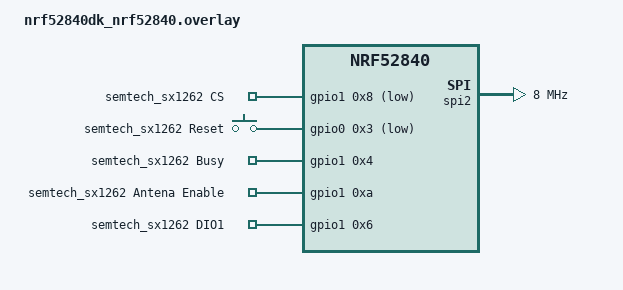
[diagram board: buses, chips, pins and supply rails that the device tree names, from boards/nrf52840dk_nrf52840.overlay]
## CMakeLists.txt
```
#
# Copyright (c) 2023 Nordic Semiconductor ASA
#
# SPDX-License-Identifier: LicenseRef-Nordic-5-Clause
#

cmake_minimum_required(VERSION 3.20.0)

set(hci_rpmsg_KCONFIG_ROOT ${CMAKE_CURRENT_SOURCE_DIR}/child_image/hci_rpmsg/Kconfig.root)

find_package(Zephyr REQUIRED HINTS $ENV{ZEPHYR_BASE})
project(sensor_monitoring)

FILE(GLOB app_sources
    src/*.c
    ext/*.c
)

target_sources(app PRIVATE ${app_sources})

zephyr_include_directories(
    include
    ext
    ../common/include
)
```

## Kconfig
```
#
# Copyright (c) 2023 Nordic Semiconductor ASA
#
# SPDX-License-Identifier: LicenseRef-Nordic-5-Clause
#

menu "Sidewalk application"

config SM_TIMER_DEMO_CAPABILITY_PERIOD_MS
        prompt "Capability period in ms"
        int
        default 5000
        help
               Delay in ms to wait after device is registered to send capability to cloud

config SM_TIMER_CONNECT_LINK_TYPE_1_DELAY_MS 
        prompt "BLE Conneciton request delay after inactivity in ms"
        int
        default 60000
        help
                If operating in BLE mode the connection request has to be send before any message can be send.
                This config determines delay between connection requests

config SM_TIMER_CONNECT_LINK_TYPE_1_INIT_DELAY_MS
        prompt "BLE Initial connection request delay in ms"
        int
        default 5000
        help
                After device has been registered and time sync the connection request has to be send. 
                This config determines the delay before first connection request
                
config SM_TIMER_DEMO_NOTIFY_SENSOR_DATA_PERIOD_MS
        prompt "Sensor data sending period in ms"
        int
        default 15000
        help
                Period between sending sensor messages from device to cloud.
                Those messages also contain the state of buttons.

config SM_TIMER_BUTTON_PRESS_CHECK_PERIOD_SECS
        prompt "Sending button state period in seconds"
        int
        default 30
        help
                Delay between sending Button update to cloud.
                Any notification send to cloud contain state of buttons, so if no message has been send for 
                BUTTON_PRESS_CHECK_PERIOD_SECS, the button state will be send.

config SM_TIMER_PROFILE_CHECK_TIMER_DELAY_MS 
        prompt "SubGHz change profile delay in ms"
        int
        default 60000
        help
                In SubGHz configuration, this value determines when the transmition profile will be changed
endmenu

source "${ZEPHYR_BASE}/../sidewalk/samples/common/Kconfig.defconfig"

source "Kconfig.zephyr"
```

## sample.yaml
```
sample:
  description: Amazon Sidewalk demo app
  name: Sensor monitoring app
tests:
  sample.sidewalk.demo.ble_only:
    build_only: true
    platform_allow: nrf52840dk_nrf52840 nrf5340dk_nrf5340_cpuapp thingy53_nrf5340_cpuapp
    integration_platforms:
      - nrf52840dk_nrf52840
      - nrf5340dk_nrf5340_cpuapp
    tags: Sidewalk BLE
  sample.sidewalk.demo.fsk:
    build_only: true
    platform_allow: nrf52840dk_nrf52840 nrf5340dk_nrf5340_cpuapp
    extra_args: OVERLAY_CONFIG=fsk.conf
    integration_platforms:
      - nrf52840dk_nrf52840
      - nrf5340dk_nrf5340_cpuapp
    tags: Sidewalk FSK
  sample.sidewalk.demo.lora:
    build_only: true
    platform_allow: nrf52840dk_nrf52840 nrf5340dk_nrf5340_cpuapp
    extra_args: OVERLAY_CONFIG=lora.conf
    integration_platforms:
      - nrf52840dk_nrf52840
      - nrf5340dk_nrf5340_cpuapp
    tags: Sidewalk LoRa
```

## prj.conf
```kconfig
#
# Copyright (c) 2023 Nordic Semiconductor ASA
#
# SPDX-License-Identifier: LicenseRef-Nordic-5-Clause
#

# Sidewalk
CONFIG_SIDEWALK=y
CONFIG_SIDEWALK_TEMPERATURE=y
CONFIG_SIDEWALK_DFU=n
CONFIG_SIDEWALK_THREAD_PRIORITY=10

# Logs
CONFIG_SIDEWALK_LOG_LEVEL_INF=y

# Buttons and LEDs
CONFIG_GPIO=y
CONFIG_DK_LIBRARY=y

# Bluetooth
CONFIG_BT_DEVICE_NAME="Sid demo"

# Debug
CONFIG_RESET_ON_FATAL_ERROR=n

# Low Power Charles
CONFIG_PM_DEVICE=y
CONFIG_POWEROFF=y
CONFIG_SERIAL=n
CONFIG_LOG=n
CONFIG_CONSOLE=n
CONFIG_UART_CONSOLE=n
CONFIG_RTT_CONSOLE=n
CONFIG_USE_SEGGER_RTT=n
CONFIG_PRINTK=n
```

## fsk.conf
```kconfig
#
# Copyright (c) 2023 Nordic Semiconductor ASA
#
# SPDX-License-Identifier: LicenseRef-Nordic-5-Clause
#

CONFIG_SIDEWALK_LINK_MASK_FSK=y


CONFIG_HW_CC3XX=y
CONFIG_PSA_CRYPTO_DRIVER_CC3XX=y
CONFIG_MBEDTLS_HEAP_SIZE=1024

CONFIG_SPIN_VALIDATE=n
```

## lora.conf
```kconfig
#
# Copyright (c) 2023 Nordic Semiconductor ASA
#
# SPDX-License-Identifier: LicenseRef-Nordic-5-Clause
#

CONFIG_SIDEWALK_LINK_MASK_LORA=y
```

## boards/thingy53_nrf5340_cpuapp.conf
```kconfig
#
# Copyright (c) 2023 Nordic Semiconductor ASA
#
# SPDX-License-Identifier: LicenseRef-Nordic-5-Clause
#
CONFIG_BOOTLOADER_MCUBOOT=n

CONFIG_I2C=y
CONFIG_SENSOR=y
CONFIG_BME680=y
```

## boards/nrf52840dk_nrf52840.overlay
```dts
/*
 * Copyright (c) 2023 Nordic Semiconductor ASA
 *
 * SPDX-License-Identifier: LicenseRef-Nordic-5-Clause
 */

&spi3 {
	status = "disabled";
};

sid_semtech: &spi2 {
	compatible = "nordic,nrf-spim";
	status = "okay";
	pinctrl-0 = <&spi2_default>;
	pinctrl-1 = <&spi2_sleep>;
	pinctrl-names = "default", "sleep";
	clock-frequency = <DT_FREQ_M(8)>;
};

/{
 	semtech_sx1262_gpios{
 		compatible = "gpio-keys";
		semtech_sx1262_cs: cs {
			gpios = <&gpio1 0x8 GPIO_ACTIVE_LOW>;
			label = "semtech_sx1262 CS";
		};
 		semtech_sx1262_reset_gpios: reset {
			gpios = <&gpio0 0x3 GPIO_ACTIVE_LOW>;
			label = "semtech_sx1262 Reset";
		};
		semtech_sx1262_busy_gpios: busy {
			gpios = <&gpio1 0x4 GPIO_ACTIVE_HIGH>;
			label = "semtech_sx1262 Busy";
		};
		semtech_sx1262_antenna_enable_gpios: antena_enable {
			gpios = <&gpio1 0xa GPIO_ACTIVE_HIGH>;
			label = "semtech_sx1262 Antena Enable";
		};
		semtech_sx1262_dio1_gpios: dio1 {
			gpios = <&gpio1 0x6 GPIO_ACTIVE_HIGH>;
			label = "semtech_sx1262 DIO1";
		};
 	};
 };

&spi2_default {
	group1 {
		psels = <NRF_PSEL(SPIM_SCK, 1, 15)>,
			<NRF_PSEL(SPIM_MISO, 1, 14)>,
			<NRF_PSEL(SPIM_MOSI, 1, 13)>;
	};
};

&spi2_sleep {
	group1 {
		psels = <NRF_PSEL(SPIM_SCK, 1, 15)>,
			<NRF_PSEL(SPIM_MISO, 1, 14)>,
			<NRF_PSEL(SPIM_MOSI, 1, 13)>;
		low-power-enable;
	};
};
```

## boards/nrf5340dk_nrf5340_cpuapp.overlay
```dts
/*
 * Copyright (c) 2023 Nordic Semiconductor ASA
 *
 * SPDX-License-Identifier: LicenseRef-Nordic-5-Clause
 */

#include <zephyr/dt-bindings/ipc_service/static_vrings.h>

&ipc0 {
    zephyr,priority = <0 PRIO_COOP>;
};

 sid_semtech: &spi4 {
	compatible = "nordic,nrf-spim";
	status = "okay";
	pinctrl-0 = <&spi4_default>;
	pinctrl-1 = <&spi4_sleep>;
	pinctrl-names = "default", "sleep";
	clock-frequency = <DT_FREQ_M(8)>;
};

/{
	semtech_sx1262_gpios{
		compatible = "gpio-keys";
	   semtech_sx1262_cs: cs {
		   gpios = <&gpio1 0x9 GPIO_ACTIVE_LOW>;
		   label = "semtech_sx1262 CS";
	   };
		semtech_sx1262_reset_gpios: reset {
		   gpios = <&gpio0 0x4 GPIO_ACTIVE_LOW>;
		   label = "semtech_sx1262 Reset";
	   };
	   semtech_sx1262_busy_gpios: busy {
		   gpios = <&gpio1 0x5 GPIO_ACTIVE_HIGH>;
		   label = "semtech_sx1262 Busy";
	   };
	   semtech_sx1262_antenna_enable_gpios: antena_enable {
		   gpios = <&gpio1 0xa GPIO_ACTIVE_HIGH>;
		   label = "semtech_sx1262 Antena Enable";
	   };
	   semtech_sx1262_dio1_gpios: dio1 {
		   gpios = <&gpio1 0x7 GPIO_ACTIVE_HIGH>;
		   label = "semtech_sx1262 DIO1";
	   };
	};
};
```

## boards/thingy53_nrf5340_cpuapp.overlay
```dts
/*
 * Copyright (c) 2023 Nordic Semiconductor ASA
 *
 * SPDX-License-Identifier: LicenseRef-Nordic-5-Clause
 */

#include <zephyr/dt-bindings/ipc_service/static_vrings.h>

&ipc0 {
    zephyr,priority = <0 PRIO_COOP>;
};

&i2c1 {
	status = "okay";

	bme688@76 {
		compatible = "bosch,bme680";
		reg = <0x76>;
		status = "okay";
	};
};
```

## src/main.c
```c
/*
 * Copyright (c) 2023 Nordic Semiconductor ASA
 *
 * SPDX-License-Identifier: LicenseRef-Nordic-5-Clause
 */

#include <sm_task.h>
#include <sm_buttons.h>
#include <sm_leds.h>
#include <sidewalk_version.h>
#include <zephyr/logging/log.h>
LOG_MODULE_REGISTER(sm_main, CONFIG_SIDEWALK_LOG_LEVEL);

static int init_leds_and_buttons(void)
{
	int err = sm_buttons_init();

	if (err) {
		LOG_ERR("Failed to initialize buttons (err: %d)", err);
		return err;
	}

	err = sm_leds_init();
	if (err) {
		LOG_ERR("Failed to initialize LEDs (err: %d)", err);
		return err;
	}
	return err;
}

int main(void)
{
	int err;

	PRINT_SIDEWALK_VERSION();

	err = init_leds_and_buttons();
	if (err) {
		LOG_INF("Buttons or LEDs faild to initialize.");
		return err;
	}

	LOG_INF("Sidewalk demo started!");

	sm_task_start();

	return 0;
}
```

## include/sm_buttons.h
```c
/*
 * Copyright (c) 2023 Nordic Semiconductor ASA
 *
 * SPDX-License-Identifier: LicenseRef-Nordic-5-Clause
 */

#ifndef SM_BUTTONS_H
#define SM_BUTTONS_H

#include <sm_task.h>

#if defined(CONFIG_BOARD_THINGY53_NRF5340_CPUAPP)
#define DEMO_BUTTONS_MAX 1
#else
#define DEMO_BUTTONS_MAX 4
#endif
/**
 * @brief Action response process.
 *
 * @param state pointer to parse state.
 */
void sm_buttons_action_response_process(struct sid_parse_state *state);

/**
 * @brief Clear button pending flag.
 *
 */
void sm_buttons_pendig_flag_clear();

/**
 * @brief Set bit in notify mask for button ID.
 *
 * @param btn_id button ID.
 */
void sm_buttons_notify_mask_bit_set(uint8_t btn_id);

/**
 * @brief This function tests whether bit assigned to button ID is set or not.
 *
 * @param btn_id button ID
 * @return true if bit is set, false otherwise.
 */
bool sm_buttons_notify_mask_bit_is_set(uint8_t btn_id);

/**
 * @brief Button notify mask get.
 *
 * @return notify mask.
 */
uint32_t sm_buttons_notify_mask_get();

/**
 * @brief Clear bit in notify mask for button ID.
 *
 * @param btn_id button ID.
 */
void sm_buttons_notify_mask_bit_clear(uint8_t btn_id);

/**
 * @brief Clear bit in press mask for button ID.
 *
 * @param btn_id button ID.
 */
void sm_buttons_press_mask_bit_clear(uint8_t btn_id);

/**
 * @brief This function tests whether bit assigned to button ID is set or not.
 *
 * @param btn_id button ID.
 * @return true if bit is set, false otherwise.
 */
bool sm_buttons_press_mask_bit_is_set(uint8_t btn_id);

/**
 * @brief Get address to buttons array.
 *
 * @return address to button array.
 */
uint8_t *sm_buttons_id_array_get();

/**
 * @brief Set button press time.
 *
 * @param btn_id button ID.
 * @param sec time in seconds.
 */
void sm_buttons_press_time_set(uint8_t btn_id, sid_time_t sec);

/**
 * @brief Get button press time.
 *
 * @param btn_id Button ID.
 * @return time in seconds.
 */
sid_time_t sm_buttons_press_time_get(uint8_t btn_id);

/**
 * @brief Configure and initialize buttons.
 *
 * @return 0 if success, otherwise negative error code.
 */
int sm_buttons_init();

#endif /* SM_BUTTONS_H */
```

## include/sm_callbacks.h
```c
/*
 * Copyright (c) 2023 Nordic Semiconductor ASA
 *
 * SPDX-License-Identifier: LicenseRef-Nordic-5-Clause
 */

#ifndef SM_CALLBACKS_H
#define SM_CALLBACKS_H

#include <sid_api.h>

/**
 * @brief This function sets callbacks which will be invoked Sidewalk events occurs.
 *
 * @param ctx current user context.
 * @param cb pointer to object which stores callbacks.
 * @return SID_ERROR_NONE when success or error code otherwise.
 */
sid_error_t sm_callbacks_set(void *ctx, struct sid_event_callbacks *cb);

#endif /* SM_CALLBACKS_H */
```

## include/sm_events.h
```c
/*
 * Copyright (c) 2023 Nordic Semiconductor ASA
 *
 * SPDX-License-Identifier: LicenseRef-Nordic-5-Clause
 */

#ifndef SM_EVENTS_H
#define SM_EVENTS_H

enum event_type {
	EVENT_TYPE_SIDEWALK,
	EVENT_FACTORY_RESET,
	EVENT_BUTTON_PRESS,
	EVENT_CONNECT_LINK_TYPE_1,
	EVENT_SET_DEVICE_PROFILE_LINK_TYPE_2,
	EVENT_NOTIFICATION_TIMER_FIRED,
	EVENT_BUTTON_PRESS_TIMER_FIRED,
};

enum btn_event {
	BTN_EVENT_KEY_0 = 0,
	BTN_EVENT_KEY_1,
	BTN_EVENT_KEY_2,
	BTN_EVENT_KEY_3,
	BTN_EVENT_RESET_KEY,
};

#endif /* SM_EVENTS_H */
```

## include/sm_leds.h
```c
/*
 * Copyright (c) 2023 Nordic Semiconductor ASA
 *
 * SPDX-License-Identifier: LicenseRef-Nordic-5-Clause
 */

#ifndef SM_LEDS_H
#define SM_LEDS_H

#include <sm_task.h>

/**
 * @brief The function processes a LED request.
 *
 * @param app_context application context.
 * @param state pointer to serialized request data.
 */
void sm_leds_action_request_process(app_context_t *app_context, struct sid_parse_state *state);

/**
 * @brief Get number of LED id array's cells.
 *
 * @return number of LED id array's cells = number of LEDs.
 */
size_t sm_leds_id_array_size_get();

/**
 * @brief Get LED id array's address.
 *
 * @return pointer to LEDs id array.
 */
uint8_t *sm_leds_id_array_get();

/**
 * @brief Initialize LED's
 *
 * @return 0 if success, otherwise negative error code.
 */
int sm_leds_init();

#endif /* SM_LEDS_H */
```

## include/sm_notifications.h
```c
/*
 * Copyright (c) 2023 Nordic Semiconductor ASA
 *
 * SPDX-License-Identifier: LicenseRef-Nordic-5-Clause
 */

#ifndef SM_NOTIFICATIONS_H
#define SM_NOTIFICATIONS_H

#include <sm_task.h>

/**
 * @brief Send capability notification.
 *
 * @param app_context application context.
 */
void sm_notify_capability(app_context_t *app_context);

/**
 * @brief Send notification from sensors.
 *
 * @param app_context application context.
 * @param button_pressed flag inform is notification comes from button event.
 */
void sm_notify_sensor_data(app_context_t *app_context, bool button_pressed);

/**
 * @brief Check button press notification.
 *
 * @param app_context application context.
 */
void sm_check_button_press_notify(app_context_t *app_context);

#endif /* SM_NOTIFICATIONS_H */
```

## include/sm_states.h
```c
/*
 * Copyright (c) 2023 Nordic Semiconductor ASA
 *
 * SPDX-License-Identifier: LicenseRef-Nordic-5-Clause
 */

#ifndef SM_STATES_H
#define SM_STATES_H

enum app_sidewalk_state {
	STATE_SIDEWALK_INIT,
	STATE_SIDEWALK_READY,
	STATE_SIDEWALK_NOT_READY,
	STATE_SIDEWALK_SECURE_CONNECTION,
};

const char *app_sidewalk_state_to_str(const enum app_sidewalk_state state);

enum demo_app_state {
	DEMO_APP_STATE_INIT,
	DEMO_APP_STATE_REGISTERED,
	DEMO_APP_STATE_NOTIFY_CAPABILITY,
	DEMO_APP_STATE_NOTIFY_SENSOR_DATA,
};

const char *demo_app_state_to_string(const enum demo_app_state state);

#endif /* SM_STATES_H */
```

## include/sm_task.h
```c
/*
 * Copyright (c) 2023 Nordic Semiconductor ASA
 *
 * SPDX-License-Identifier: LicenseRef-Nordic-5-Clause
 */

#ifndef SM_TASK_H
#define SM_TASK_H

#include <sid_demo_parser.h>
#include <sm_events.h>
#include <sm_states.h>
#include <sm_utils.h>
#include <zephyr/kernel.h>

struct link_status {
	enum sid_time_sync_status time_sync_status;
	uint32_t link_mask;
	uint32_t supported_link_mode[SID_LINK_TYPE_MAX_IDX];
};

typedef struct app_context {
	struct sid_handle *sidewalk_handle;
	enum app_sidewalk_state sidewalk_state;
	enum demo_app_state app_state;
	struct link_status link_status;

	uint8_t buffer[PAYLOAD_MAX_SIZE];
} app_context_t;

/**
 * @brief Function for starting demo tasks.
 *
 */
void sm_task_start(void);

/**
 * @brief Add message to sidewalk queue.
 *
 * @param app_context application context.
 * @param desc message descriptor.
 * @param msg message payload.
 */
void sm_send_msg(const app_context_t *app_context, struct sid_msg_desc *desc, struct sid_msg *msg);

/**
 * @brief Get the active link type object.
 *
 * @param app_context application context.
 * @return link type.
 */
enum sid_link_type sm_active_link_type_get(const app_context_t *app_context);

#endif /* SM_TASK_H */
```

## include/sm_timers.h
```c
/*
 * Copyright (c) 2023 Nordic Semiconductor ASA
 *
 * SPDX-License-Identifier: LicenseRef-Nordic-5-Clause
 */

#ifndef SM_TIMERS_H
#define SM_TIMERS_H

#include <zephyr/kernel.h>

/**
 * @brief Set time period and run timer for capability notification.
 *
 * @param delay expected delay.
 */
void sm_cap_timer_set_and_run(k_timeout_t delay);

/**
 * @brief Set time period and run timer for buttons.
 *
 * @param delay expected delay.
 * @param update_delay force update delay.
 */
void sm_btn_press_timer_set_and_run(k_timeout_t delay, bool update_delay);

/**
 * @brief Set time period and run timer for device profile.
 *
 * @param delay expected delay.
 */
void sm_device_profile_timer_set_and_run(k_timeout_t delay);

/**
 * @brief Device profile timer stop.
 *
 */
void sm_device_profile_timer_stop();

#endif /* SM_TIMERS_H */
```

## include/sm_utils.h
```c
/*
 * Copyright (c) 2023 Nordic Semiconductor ASA
 *
 * SPDX-License-Identifier: LicenseRef-Nordic-5-Clause
 */

#ifndef SM_UTILS_H
#define SM_UTILS_H

#include <stddef.h>
#include <stdint.h>
#include <sid_api.h>

#define PAYLOAD_MAX_SIZE (255)
#define SID_DEMO_APP_TTL_MAX (60)
#define SID_DEMO_APP_RETRIES_MAX (3)

#ifdef CONFIG_SIDEWALK_LINK_MASK_BLE
#define BUILT_IN_LM (uint32_t)(SID_LINK_TYPE_1)
#elif CONFIG_SIDEWALK_LINK_MASK_FSK
#define BUILT_IN_LM (uint32_t)(SID_LINK_TYPE_2)
#elif CONFIG_SIDEWALK_LINK_MASK_LORA
#define BUILT_IN_LM (uint32_t)(SID_LINK_TYPE_3)
#else
#error "Not defined Sidewalk link mask!!"
#endif

#define SID_APP_LM_2_STR(_lm)                                                                      \
	(_lm == SID_LINK_TYPE_1			      ? "BLE" :                                    \
	 (_lm == SID_LINK_TYPE_2)		      ? "FSK" :                                    \
	 (_lm == SID_LINK_TYPE_3)		      ? "LoRa" :                                   \
	 (_lm == (SID_LINK_TYPE_1 | SID_LINK_TYPE_2)) ? "BLE & FSK" :                              \
	 (_lm == (SID_LINK_TYPE_1 | SID_LINK_TYPE_3)) ? "BLE & LoRa" :                             \
							"INVALID")

struct app_demo_msg {
	enum sid_link_type link_type;
	enum sid_msg_type msg_type;
	struct sid_demo_msg_desc *msg_desc;
	struct sid_demo_msg *msg;
};

struct app_demo_rx_msg {
	uint16_t msg_id;
	size_t pld_size;
	uint8_t rx_payload[PAYLOAD_MAX_SIZE];
};

/**
 * @brief Add message to message queue.
 *
 * @param event Sidewalk event.
 */
void sm_main_task_msg_q_write(enum event_type event);

/**
 * @brief Add message to message queue.
 *
 * @param rx_msg pointer to message.
 */
void sm_rx_task_msg_q_write(struct app_demo_rx_msg *rx_msg);

/**
 * @brief The function checks is Sidewalk ready.
 *
 * @return true when Sidewalk is ready false otherwise.
 */
bool sm_is_sidewalk_ready();

/**
 * @brief Get application state.
 *
 * @return Application state.
 */
enum demo_app_state sm_app_state_get();

#endif /* SM_UTILS_H */
```

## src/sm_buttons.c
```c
/*
 * Copyright (c) 2023 Nordic Semiconductor ASA
 *
 * SPDX-License-Identifier: LicenseRef-Nordic-5-Clause
 */

#include <sm_buttons.h>
#include <buttons.h>
#include <assert.h>
#include <dk_buttons_and_leds.h>
#include <zephyr/logging/log.h>
LOG_MODULE_REGISTER(sm_buttons, CONFIG_SIDEWALK_LOG_LEVEL);

#define BTN_CHECK_AND_SET_MASK(_id)                                                                \
	do {                                                                                       \
		if (!atomic_test_bit(&button_press_mask, button_id_arr[_id])) {                    \
			atomic_set_bit(&button_press_mask, button_id_arr[_id]);                    \
			notify_event = true;                                                       \
		}                                                                                  \
	} while (0);

static uint8_t button_id_arr[DEMO_BUTTONS_MAX];
static atomic_t button_press_mask = ATOMIC_INIT(0);
static uint32_t button_notify_mask;
static uint32_t button_press_time_in_sec_id_arr[DEMO_BUTTONS_MAX];
static atomic_t button_event_pending_processing = ATOMIC_INIT(false);

static void btn_event_handler(uint32_t event)
{
	if ((sm_app_state_get() != DEMO_APP_STATE_NOTIFY_SENSOR_DATA) &&
	    (event != BTN_EVENT_RESET_KEY)) {
		return;
	}

	bool notify_event = false;

	switch ((enum btn_event)event) {
	case BTN_EVENT_RESET_KEY:
		sm_main_task_msg_q_write(EVENT_FACTORY_RESET);
		break;
	case BTN_EVENT_KEY_0:
		BTN_CHECK_AND_SET_MASK(0);
		break;
#ifndef CONFIG_BOARD_THINGY53_NRF5340_CPUAPP
	case BTN_EVENT_KEY_1:
		BTN_CHECK_AND_SET_MASK(1);
		break;
	case BTN_EVENT_KEY_2:
		BTN_CHECK_AND_SET_MASK(2);
		break;
	case BTN_EVENT_KEY_3:
		BTN_CHECK_AND_SET_MASK(3);
		break;
#endif
	default:
		break;
	}

	if (notify_event && atomic_cas(&button_event_pending_processing, false, true)) {
		sm_main_task_msg_q_write(EVENT_BUTTON_PRESS);
	}
}

void sm_buttons_action_response_process(struct sid_parse_state *state)
{
	assert(state);
	uint8_t temp_button_id_arr[DEMO_BUTTONS_MAX] = { 0 };
	struct sid_demo_action_resp action_resp;

	memset(&action_resp, 0, sizeof(action_resp));

	action_resp.button_action_resp.button_id_arr = temp_button_id_arr;
	sid_demo_app_action_resp_deserialize(state, &action_resp);
	if (state->ret_code != SID_ERROR_NONE) {
		LOG_ERR("de-serialize action resp failed %d", state->ret_code);
	} else if (action_resp.resp_type == SID_DEMO_ACTION_TYPE_BUTTON) {
		if (action_resp.button_action_resp.num_buttons == 0xFF) {
			atomic_clear(&button_press_mask);
			button_notify_mask = 0;
			for (size_t i = 0; i < DEMO_BUTTONS_MAX; i++) {
				button_press_time_in_sec_id_arr[i] = 0;
			}
		} else if (action_resp.button_action_resp.num_buttons <= DEMO_BUTTONS_MAX) {
			for (size_t i = 0; i < action_resp.button_action_resp.num_buttons; i++) {
				atomic_clear_bit(&button_press_mask,
						 action_resp.button_action_resp.button_id_arr[i]);
				WRITE_BIT(button_notify_mask,
					  action_resp.button_action_resp.button_id_arr[i], false);
				button_press_time_in_sec_id_arr[i] = 0;
			}
		} else {
			LOG_ERR("Invalid number of button Max allowed %d received %d",
				DEMO_BUTTONS_MAX, action_resp.button_action_resp.num_buttons);
		}
	} else {
		LOG_ERR("Invalid response received %d", action_resp.resp_type);
	}
}

void sm_buttons_pendig_flag_clear()
{
	atomic_clear(&button_event_pending_processing);
}

void sm_buttons_notify_mask_bit_set(uint8_t btn_id)
{
	if (btn_id < DEMO_BUTTONS_MAX) {
		WRITE_BIT(button_notify_mask, button_id_arr[btn_id], true);
	}
}

void sm_buttons_notify_mask_bit_clear(uint8_t btn_id)
{
	if (btn_id < DEMO_BUTTONS_MAX) {
		WRITE_BIT(button_notify_mask, button_id_arr[btn_id], false);
	}
}

bool sm_buttons_notify_mask_bit_is_set(uint8_t btn_id)
{
	if (btn_id < DEMO_BUTTONS_MAX) {
		return (button_notify_mask & BIT(button_id_arr[btn_id]));
	}
	return false;
}

uint32_t sm_buttons_notify_mask_get()
{
	return button_notify_mask;
}

void sm_buttons_press_mask_bit_clear(uint8_t btn_id)
{
	if (btn_id < DEMO_BUTTONS_MAX) {
		atomic_clear_bit(&button_press_mask, button_id_arr[btn_id]);
	}
}

bool sm_buttons_press_mask_bit_is_set(uint8_t btn_id)
{
	if (btn_id < DEMO_BUTTONS_MAX) {
		return atomic_test_bit(&button_press_mask, button_id_arr[btn_id]);
	}
	return false;
}

uint8_t *sm_buttons_id_array_get()
{
	return button_id_arr;
}

void sm_buttons_press_time_set(uint8_t btn_id, sid_time_t sec)
{
	if (btn_id < DEMO_BUTTONS_MAX) {
		button_press_time_in_sec_id_arr[btn_id] = sec;
	}
}

sid_time_t sm_buttons_press_time_get(uint8_t btn_id)
{
	if (btn_id < DEMO_BUTTONS_MAX) {
		return button_press_time_in_sec_id_arr[btn_id];
	}
	return 0;
}

int sm_buttons_init()
{
	button_set_action_long_press(DK_BTN1, btn_event_handler, BTN_EVENT_RESET_KEY);
	button_set_action_short_press(DK_BTN1, btn_event_handler, BTN_EVENT_KEY_0);
#ifndef CONFIG_BOARD_THINGY53_NRF5340_CPUAPP
	button_set_action_long_press(DK_BTN1, btn_event_handler, BTN_EVENT_RESET_KEY);
	button_set_action(DK_BTN2, btn_event_handler, BTN_EVENT_KEY_1);
	button_set_action(DK_BTN3, btn_event_handler, BTN_EVENT_KEY_2);
	button_set_action(DK_BTN4, btn_event_handler, BTN_EVENT_KEY_3);
#endif
	for (size_t i = 0; i < DEMO_BUTTONS_MAX; i++) {
		button_id_arr[i] = i;
	}

	return buttons_init();
}
```

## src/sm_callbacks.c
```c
/*
 * Copyright (c) 2023 Nordic Semiconductor ASA
 *
 * SPDX-License-Identifier: LicenseRef-Nordic-5-Clause
 */

#include <sm_callbacks.h>
#include <sm_task.h>
#include <sm_utils.h>
#include <sm_timers.h>
#include <sid_hal_reset_ifc.h>

#include <zephyr/logging/log.h>
LOG_MODULE_REGISTER(sm_callbacks, CONFIG_SIDEWALK_LOG_LEVEL);

static const uint8_t *status_name[] = { "ready", "not ready", "Error", "secure channel ready" };

static const uint8_t *link_mode_name[] = {
	"none", [SID_LINK_MODE_CLOUD] = "cloud", [SID_LINK_MODE_MOBILE] = "mobile"
};

static const uint8_t *link_mode_idx_name[] = { "ble", "fsk", "lora" };

static void cb_sid_event(bool in_isr, void *context)
{
	LOG_DBG("Event from %s, context %p", in_isr ? "ISR" : "App", context);
	sm_main_task_msg_q_write(EVENT_TYPE_SIDEWALK);
}

static void cb_sid_msg_received(const struct sid_msg_desc *msg_desc, const struct sid_msg *msg,
				void *context)
{
	LOG_INF("Received message(type: %d, link_mode: %d, id: %u size %u rssi %d snr %d)",
		(int)msg_desc->type, (int)msg_desc->link_mode, msg_desc->id, msg->size,
		(int)msg_desc->msg_desc_attr.rx_attr.rssi,
		(int)msg_desc->msg_desc_attr.rx_attr.snr);
	LOG_HEXDUMP_INF((uint8_t *)msg->data, msg->size, "Message data: ");

	if (msg_desc->type == SID_MSG_TYPE_RESPONSE && msg_desc->msg_desc_attr.rx_attr.is_msg_ack) {
		LOG_INF("Received Ack for msg id %d", msg_desc->id);
	} else {
		struct app_demo_rx_msg rx_msg = {
			.msg_id = msg_desc->id,
			.pld_size = msg->size,
		};
		memcpy(rx_msg.rx_payload, msg->data, MIN(msg->size, PAYLOAD_MAX_SIZE));
		sm_rx_task_msg_q_write(&rx_msg);
	}
}

static void cb_sid_msg_sent(const struct sid_msg_desc *msg_desc, void *context)
{
	LOG_INF("Sent message(type: %d, id: %u)", (int)msg_desc->type, msg_desc->id);
}

static void cb_sid_send_error(sid_error_t error, const struct sid_msg_desc *msg_desc, void *context)
{
	LOG_ERR("Failed to send message(type: %d, id: %u), err:%d", (int)msg_desc->type,
		msg_desc->id, (int)error);
}

static void cd_sid_status_changed(const struct sid_status *status, void *context)
{
	LOG_INF("Status changed: %s", status_name[status->state]);

	app_context_t *app_context = (app_context_t *)context;

	switch (status->state) {
	case SID_STATE_READY:
		app_context->sidewalk_state = STATE_SIDEWALK_READY;
		LOG_INF("sidewalk_state = %s",
			app_sidewalk_state_to_str(app_context->sidewalk_state));
		break;
	case SID_STATE_NOT_READY:
		app_context->sidewalk_state = STATE_SIDEWALK_NOT_READY;
		LOG_INF("sidewalk_state = %s",
			app_sidewalk_state_to_str(app_context->sidewalk_state));
		break;
	case SID_STATE_ERROR:
		LOG_ERR("Sidewalk error: %d", (int)sid_get_error(app_context->sidewalk_handle));
		break;
	case SID_STATE_SECURE_CHANNEL_READY:
		app_context->sidewalk_state = STATE_SIDEWALK_SECURE_CONNECTION;
		LOG_INF("sidewalk_state = %s",
			app_sidewalk_state_to_str(app_context->sidewalk_state));
		break;
	}

	LOG_INF("Device %sregistered, Time Sync %s, Link Status Mask = %x",
		(status->detail.registration_status == SID_STATUS_REGISTERED) ? "Is " : "Un",
		(status->detail.time_sync_status == SID_STATUS_TIME_SYNCED) ? "Success" : "Fail",
		status->detail.link_status_mask);

	if ((status->state == SID_STATE_READY) &&
	    (status->detail.time_sync_status == SID_STATUS_TIME_SYNCED) &&
	    (status->detail.registration_status == SID_STATUS_REGISTERED) &&
	    (status->detail.link_status_mask > 0)) {
		/* When connection to cloud is established send the capability message */
		app_context->app_state = DEMO_APP_STATE_INIT;
		LOG_INF("app_state = %s", demo_app_state_to_string(app_context->app_state));
	}

	app_context->link_status.link_mask = status->detail.link_status_mask;
	app_context->link_status.time_sync_status = status->detail.time_sync_status;

	for (int i = 0; i < SID_LINK_TYPE_MAX_IDX; i++) {
		enum sid_link_mode mode =
			(enum sid_link_mode)status->detail.supported_link_modes[i];
		app_context->link_status.supported_link_mode[i] = mode;

		if ((mode == SID_LINK_MODE_CLOUD) || (mode == SID_LINK_MODE_MOBILE)) {
			LOG_INF("Link mode %s, on %s", link_mode_name[mode], link_mode_idx_name[i]);
		}
	}

	if (app_context->app_state == DEMO_APP_STATE_INIT &&
	    status->detail.registration_status == SID_STATUS_REGISTERED) {
		app_context->app_state = DEMO_APP_STATE_REGISTERED;
		LOG_INF("app_state = %s", demo_app_state_to_string(app_context->app_state));
	}

	if (app_context->sidewalk_state == STATE_SIDEWALK_READY) {
		k_timeout_t delay = K_MSEC(CONFIG_SM_TIMER_DEMO_CAPABILITY_PERIOD_MS);

		if (app_context->app_state == DEMO_APP_STATE_REGISTERED) {
			app_context->app_state = DEMO_APP_STATE_NOTIFY_CAPABILITY;
			LOG_INF("app_state = %s", demo_app_state_to_string(app_context->app_state));
		} else if (app_context->app_state == DEMO_APP_STATE_NOTIFY_SENSOR_DATA) {
			delay = K_MSEC(CONFIG_SM_TIMER_DEMO_NOTIFY_SENSOR_DATA_PERIOD_MS);
		}
		sm_cap_timer_set_and_run(delay);
	}

	if ((status->detail.registration_status == SID_STATUS_REGISTERED) &&
	    (status->detail.time_sync_status == SID_STATUS_TIME_SYNCED)) {
		if (BUILT_IN_LM == SID_LINK_TYPE_1 &&
		    !(status->detail.link_status_mask & SID_LINK_TYPE_1)) {
			sm_cap_timer_set_and_run(
				K_MSEC(CONFIG_SM_TIMER_CONNECT_LINK_TYPE_1_INIT_DELAY_MS));
		}

		if (BUILT_IN_LM == SID_LINK_TYPE_2 &&
		    status->detail.link_status_mask & SID_LINK_TYPE_2) {
			sm_device_profile_timer_set_and_run(
				K_MSEC(CONFIG_SM_TIMER_PROFILE_CHECK_TIMER_DELAY_MS));
		}
	}
}

static void on_control_event_notify(const struct sid_control_event_data *data, void *context)
{
	LOG_INF("on_control_event_notify called");
}

static void cb_sid_factory_reset(void *context)
{
	ARG_UNUSED(context);

	LOG_DBG("Factory reset notification received from sid api");
	if (sid_hal_reset(SID_HAL_RESET_NORMAL)) {
		LOG_WRN("Reboot type not supported");
	}
}

sid_error_t sm_callbacks_set(void *ctx, struct sid_event_callbacks *cb)
{
	if (!cb || !ctx) {
		return SID_ERROR_NULL_POINTER;
	}

	cb->context = (app_context_t *)ctx;
	cb->on_event = cb_sid_event; /* Called from ISR context */
	cb->on_msg_received = cb_sid_msg_received; /* Called from sid_process() */
	cb->on_msg_sent = cb_sid_msg_sent; /* Called from sid_process() */
	cb->on_send_error = cb_sid_send_error; /* Called from sid_process() */
	cb->on_status_changed = cd_sid_status_changed; /* Called from sid_process() */
	cb->on_factory_reset = cb_sid_factory_reset; /* Called from sid_process() */
	cb->on_control_event_notify = on_control_event_notify;

	return SID_ERROR_NONE;
}
```

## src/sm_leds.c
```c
/*
 * Copyright (c) 2023 Nordic Semiconductor ASA
 *
 * SPDX-License-Identifier: LicenseRef-Nordic-5-Clause
 */

#include <sm_leds.h>
#include <assert.h>
#include <dk_buttons_and_leds.h>
#include <zephyr/logging/log.h>
LOG_MODULE_REGISTER(sm_leds, CONFIG_SIDEWALK_LOG_LEVEL);
#if defined(CONFIG_BOARD_THINGY53_NRF5340_CPUAPP)
#define DEMO_LEDS_MAX 3
#else
#define DEMO_LEDS_MAX 4
#endif
#define LED_ACTION_REPONSE_PAYLOAD_SIZE_MAX 32

static int leds_state;
static uint8_t led_id_arr[DEMO_LEDS_MAX];

enum leds_id_t {
	LED_ID_0 = 0,
	LED_ID_1 = 1,
	LED_ID_2 = 2,
	LED_ID_3 = 3,
	LED_ID_LAST,
};

static void turn_on_all_leds()
{
	dk_set_leds(DK_ALL_LEDS_MSK);
	leds_state = DK_ALL_LEDS_MSK;
}

static void turn_off_all_leds()
{
	dk_set_leds(DK_NO_LEDS_MSK);
	leds_state = DK_NO_LEDS_MSK;
}

static void turn_on_led(enum leds_id_t id)
{
	if (id < LED_ID_LAST) {
		dk_set_led_on(id);
		WRITE_BIT(leds_state, id, true);
	}
}

static void turn_off_led(enum leds_id_t id)
{
	if (id < LED_ID_LAST) {
		dk_set_led_off(id);
		WRITE_BIT(leds_state, id, false);
	}
}

static bool is_led_on(enum leds_id_t id)
{
	if (id < LED_ID_LAST) {
		return (leds_state & BIT(id));
	}
	return false;
}

static void send_led_response(app_context_t *app_context, struct sid_demo_action_resp *resp)
{
	struct sid_parse_state state;
	enum sid_link_type link_type = sm_active_link_type_get(app_context);
	uint8_t temp_buffer[LED_ACTION_REPONSE_PAYLOAD_SIZE_MAX] = { 0 };

	memset(&state, 0, sizeof(state));

	sid_parse_state_init(&state, temp_buffer, sizeof(temp_buffer));
	sid_demo_app_action_resp_serialize(&state, resp);
	if (state.ret_code != SID_ERROR_NONE) {
		LOG_ERR("Action response serialize failed -%d", state.ret_code);
		return;
	}

	struct sid_demo_msg_desc msg_desc = {
		.status_hdr_ind = true,
		.opc = SID_DEMO_MSG_TYPE_RESP,
		.cmd_class = SID_DEMO_APP_CLASS,
		.cmd_id = SID_DEMO_APP_CLASS_CMD_ACTION,
		.status_code = SID_ERROR_NONE,
	};

	struct sid_demo_msg demo_msg = { .payload = temp_buffer, .payload_size = state.offset };

	sid_parse_state_init(&state, app_context->buffer, PAYLOAD_MAX_SIZE);
	sid_demo_app_msg_serialize(&state, &msg_desc, &demo_msg);
	if (state.ret_code != SID_ERROR_NONE) {
		LOG_ERR("Data serialize failed -%d", state.ret_code);
		return;
	}

	struct sid_msg msg = {
		.data = app_context->buffer,
		.size = state.offset,
	};

	struct sid_msg_desc desc = { .link_type = link_type,
				     .type = SID_MSG_TYPE_NOTIFY,
				     .link_mode = SID_LINK_MODE_CLOUD,
				     .msg_desc_attr = {
					     .tx_attr = {
						     .ttl_in_seconds = SID_DEMO_APP_TTL_MAX,
						     .num_retries = SID_DEMO_APP_RETRIES_MAX,
						     .request_ack = true,
					     } } };

	LOG_INF("Sending led response");
	sm_send_msg(app_context, &desc, &msg);
}

static void turn_all_leds_process(app_context_t *app_context,
				  enum sid_demo_led_action led_action_req,
				  struct sid_demo_action_resp *action_resp)
{
	if (led_action_req == SID_DEMO_ACTION_LED_ON) {
		turn_on_all_leds();
	} else {
		turn_off_all_leds();
	}

	action_resp->led_action_resp.action_resp = led_action_req;

	for (size_t i = 0; i < DEMO_LEDS_MAX; i++) {
		bool result = (led_action_req == SID_DEMO_ACTION_LED_ON) ?
				      is_led_on((enum leds_id_t)led_id_arr[i]) :
				      !is_led_on((enum leds_id_t)led_id_arr[i]);
		if (result) {
			action_resp->led_action_resp.num_leds += 1;
			action_resp->led_action_resp.led_id_arr[i] = led_id_arr[i];
		}
	}

	if (action_resp->led_action_resp.num_leds) {
		send_led_response(app_context, action_resp);
	} else {
		LOG_ERR("LED response invalid num leds %d", action_resp->led_action_resp.num_leds);
	}
}

static void turn_leds_process(app_context_t *app_context, struct sid_demo_led_action_req *led_req,
			      struct sid_demo_action_resp *action_resp)
{
	for (uint8_t i = 0; i < led_req->num_leds; i++) {
		if (led_req->action_req == SID_DEMO_ACTION_LED_ON) {
			turn_on_led((enum leds_id_t)led_req->led_id_arr[i]);
		} else {
			turn_off_led((enum leds_id_t)led_req->led_id_arr[i]);
		}
	}

	action_resp->led_action_resp.action_resp = led_req->action_req;

	for (uint8_t i = 0; i < led_req->num_leds; i++) {
		bool result = (led_req->action_req == SID_DEMO_ACTION_LED_ON) ?
				      is_led_on((enum leds_id_t)led_req->led_id_arr[i]) :
				      !is_led_on((enum leds_id_t)led_req->led_id_arr[i]);
		if (result) {
			action_resp->led_action_resp.num_leds += 1;
			action_resp->led_action_resp.led_id_arr[i] = led_req->led_id_arr[i];
		}
	}

	if (action_resp->led_action_resp.num_leds) {
		send_led_response(app_context, action_resp);
	} else {
		LOG_ERR("LED response invalid num leds %d", action_resp->led_action_resp.num_leds);
	}
}

void sm_leds_action_request_process(app_context_t *app_context, struct sid_parse_state *state)
{
	assert(app_context);
	assert(state);

	uint8_t temp_led_id_arr[DEMO_LEDS_MAX] = { 0 };
	struct sid_demo_led_action_req led_req = { .led_id_arr = temp_led_id_arr };

	sid_demo_app_action_req_deserialize(state, &led_req);

	if (state->ret_code != SID_ERROR_NONE) {
		LOG_ERR("de-serialize led action req failed %d", state->ret_code);
	} else if (led_req.action_req == SID_DEMO_ACTION_LED_ON ||
		   led_req.action_req == SID_DEMO_ACTION_LED_OFF) {
		uint8_t temp_led_id_arr_resp[DEMO_LEDS_MAX] = { 0 };
		struct sid_demo_action_resp action_resp = {
			.resp_type = SID_DEMO_ACTION_TYPE_LED,
		};
		action_resp.led_action_resp.led_id_arr = temp_led_id_arr_resp;
		struct sid_timespec curr_time = { 0 };

		sid_get_time(app_context->sidewalk_handle, SID_GET_GPS_TIME, &curr_time);
		action_resp.gps_time_in_seconds = curr_time.tv_sec;

		if ((curr_time.tv_sec - led_req.gps_time_in_seconds) > 0) {
			action_resp.down_link_latency_secs =
				curr_time.tv_sec - led_req.gps_time_in_seconds;
		}

		if (led_req.num_leds == 0xFF) {
			turn_all_leds_process(app_context, led_req.action_req, &action_resp);
		} else if (led_req.num_leds <= DEMO_LEDS_MAX) {
			turn_leds_process(app_context, &led_req, &action_resp);
		} else {
			LOG_ERR("Invalid led action req max allowed %d received %d", DEMO_LEDS_MAX,
				led_req.num_leds);
		}
	} else {
		LOG_ERR("Invalid led action request %d", led_req.action_req);
	}
}

size_t sm_leds_id_array_size_get()
{
	return ARRAY_SIZE(led_id_arr);
}

uint8_t *sm_leds_id_array_get()
{
	return led_id_arr;
}

int sm_leds_init()
{
	for (size_t i = 0; i < DEMO_LEDS_MAX; i++) {
		led_id_arr[i] = i;
	}
	return dk_leds_init();
}
```
